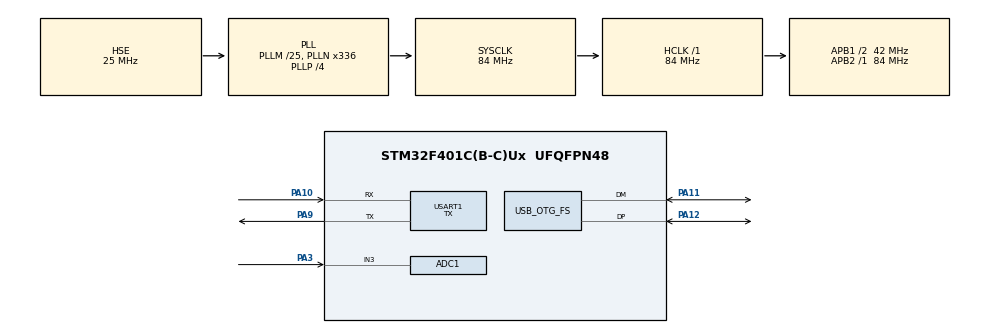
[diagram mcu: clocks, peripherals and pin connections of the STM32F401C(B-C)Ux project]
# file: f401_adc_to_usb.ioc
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ADC1.Channel-0\#ChannelRegularConversion=ADC_CHANNEL_3
ADC1.ContinuousConvMode=ENABLE
ADC1.InjNumberOfConversion=0
ADC1.NbrOfConversion=1
ADC1.NbrOfConversionFlag=1
ADC1.Rank-0\#ChannelRegularConversion=1
ADC1.SamplingTime-0\#ChannelRegularConversion=ADC_SAMPLETIME_3CYCLES
ADC1.master=1
Dma.ADC1.0.Direction=DMA_PERIPH_TO_MEMORY
Dma.ADC1.0.FIFOMode=DMA_FIFOMODE_DISABLE
Dma.ADC1.0.Instance=DMA2_Stream0
Dma.ADC1.0.MemDataAlignment=DMA_MDATAALIGN_HALFWORD
Dma.ADC1.0.MemInc=DMA_MINC_ENABLE
Dma.ADC1.0.Mode=DMA_NORMAL
Dma.ADC1.0.PeriphDataAlignment=DMA_PDATAALIGN_HALFWORD
Dma.ADC1.0.PeriphInc=DMA_PINC_DISABLE
Dma.ADC1.0.Priority=DMA_PRIORITY_LOW
Dma.Request0=ADC1
Mcu.Family=STM32F4
Mcu.Name=STM32F401C(B-C)Ux
Mcu.Package=UFQFPN48
NVIC.ADC_IRQn=true\:0\:0\:false\:false\:true\:true\:true\:true
NVIC.DMA2_Stream0_IRQn=true\:0\:0\:false\:false\:true\:false\:true\:true
NVIC.OTG_FS_IRQn=true\:0\:0\:false\:false\:true\:true\:true\:true
NVIC.PriorityGroup=NVIC_PRIORITYGROUP_4
NVIC.USART1_IRQn=true\:0\:0\:false\:false\:true\:true\:true\:true
PA10.Mode=Asynchronous
PA10.Signal=USART1_RX
PA11.Mode=Device_Only
PA11.Signal=USB_OTG_FS_DM
PA12.Mode=Device_Only
PA12.Signal=USB_OTG_FS_DP
PA13.Mode=Trace_Asynchronous_SW
PA13.Signal=SYS_JTMS-SWDIO
PA14.Mode=Trace_Asynchronous_SW
PA14.Signal=SYS_JTCK-SWCLK
PA3.Signal=ADCx_IN3
PA9.Mode=Asynchronous
PA9.Signal=USART1_TX
PB3.Mode=Trace_Asynchronous_SW
PB3.Signal=SYS_JTDO-SWO
PH0\ -\ OSC_IN.Mode=HSE-External-Oscillator
PH0\ -\ OSC_IN.Signal=RCC_OSC_IN
PH1\ -\ OSC_OUT.Mode=HSE-External-Oscillator
PH1\ -\ OSC_OUT.Signal=RCC_OSC_OUT
ProjectManager.HeapSize=0x200
ProjectManager.StackSize=0x400
ProjectManager.TargetToolchain=STM32CubeIDE
RCC.48MHZClocksFreq_Value=48000000
RCC.AHBFreq_Value=84000000
RCC.APB1CLKDivider=RCC_HCLK_DIV2
RCC.APB1Freq_Value=42000000
RCC.APB1TimFreq_Value=84000000
RCC.APB2Freq_Value=84000000
RCC.APB2TimFreq_Value=84000000
RCC.CortexFreq_Value=84000000
RCC.HCLKFreq_Value=84000000
RCC.HSE_VALUE=25000000
RCC.HSI_VALUE=16000000
RCC.LSE_VALUE=32768
RCC.PLLM=25
RCC.PLLN=336
RCC.PLLP=RCC_PLLP_DIV4
RCC.PLLQ=7
RCC.SYSCLKFreq_VALUE=84000000
RCC.SYSCLKSource=RCC_SYSCLKSOURCE_PLLCLK
RCC.VCOOutputFreq_Value=336000000
SH.ADCx_IN3.0=ADC1_IN3,IN3
USART1.Mode=MODE_TX
USART1.VirtualMode=VM_ASYNC
USB_DEVICE.CLASS_NAME_FS=CDC
USB_DEVICE.VirtualMode=Cdc
USB_DEVICE.VirtualModeFS=Cdc_FS
USB_OTG_FS.VirtualMode=Device_Only
VP_USB_DEVICE_VS_USB_DEVICE_CDC_FS.Mode=CDC_FS
board=custom

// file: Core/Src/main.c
/* USER CODE BEGIN Header */
/**
  ******************************************************************************
  * @file           : main.c
  * @brief          : Main program body
  ******************************************************************************
  * @attention
  *
  * Copyright (c) 2022 STMicroelectronics.
  * All rights reserved.
  *
  * This software is licensed under terms that can be found in the LICENSE file
  * in the root directory of this software component.
  * If no LICENSE file comes with this software, it is provided AS-IS.
  *
  ******************************************************************************
  */
/* USER CODE END Header */
#include "main.h"
#include "usb_device.h"

/* USER CODE BEGIN Includes */
#include "usbd_cdc_if.h"
#include <stdio.h>
#include <string.h>
/* USER CODE END Includes */

ADC_HandleTypeDef hadc1;
DMA_HandleTypeDef hdma_adc1;

UART_HandleTypeDef huart1;

void SystemClock_Config(void);
static void MX_GPIO_Init(void);
static void MX_DMA_Init(void);
static void MX_ADC1_Init(void);
static void MX_USART1_UART_Init(void);
/* USER CODE BEGIN PFP */
int __io_putchar(int ch)
{
 ITM_SendChar(ch);
 return(ch);
}
int _write(int file, char *ptr, int len)
 {
 int DataIdx;
 for (DataIdx = 0; DataIdx < len; DataIdx++)
 {
 __io_putchar(*ptr++);
 }
 return len;
 }
/* USER CODE END PFP */

int main(void)
{

  /* MCU Configuration--------------------------------------------------------*/

  /* Reset of all peripherals, Initializes the Flash interface and the Systick. */
  HAL_Init();

  /* Configure the system clock */
  SystemClock_Config();

  /* Initialize all configured peripherals */
  MX_GPIO_Init();
  MX_DMA_Init();
  MX_ADC1_Init();
  MX_USB_DEVICE_Init();
  MX_USART1_UART_Init();
  /* USER CODE BEGIN 2 */
  uint16_t adc_value[2560];
  /* USER CODE END 2 */

  /* Infinite loop */
  /* USER CODE BEGIN WHILE */
  HAL_ADC_Start_DMA(&hadc1,(uint32_t *) &adc_value, 256);

  while (1)
  {
	  char buff_usb[16];

	  HAL_ADC_Start_DMA(&hadc1,(uint32_t *) &adc_value,2560);
	  HAL_Delay(1000);
	  printf("\r\n***************\r\n");
	  for(uint16_t i = 0; i < 2560; i++){
		  printf("%4d\n", adc_value[i]);
		  sprintf(buff_usb, "%d\r\n", adc_value[i]);
		  CDC_Transmit_FS(buff_usb, strlen(buff_usb));
	  }
	  printf("\r\n***************\r\n");

    /* USER CODE END WHILE */

  }
}

void SystemClock_Config(void)
{
  RCC_OscInitTypeDef RCC_OscInitStruct = {0};
  RCC_ClkInitTypeDef RCC_ClkInitStruct = {0};

  /** Configure the main internal regulator output voltage
  */
  __HAL_RCC_PWR_CLK_ENABLE();
  __HAL_PWR_VOLTAGESCALING_CONFIG(PWR_REGULATOR_VOLTAGE_SCALE2);

  /** Initializes the RCC Oscillators according to the specified parameters
  * in the RCC_OscInitTypeDef structure.
  */
  RCC_OscInitStruct.OscillatorType = RCC_OSCILLATORTYPE_HSE;
  RCC_OscInitStruct.HSEState = RCC_HSE_ON;
  RCC_OscInitStruct.PLL.PLLState = RCC_PLL_ON;
  RCC_OscInitStruct.PLL.PLLSource = RCC_PLLSOURCE_HSE;
  RCC_OscInitStruct.PLL.PLLM = 25;
  RCC_OscInitStruct.PLL.PLLN = 336;
  RCC_OscInitStruct.PLL.PLLP = RCC_PLLP_DIV4;
  RCC_OscInitStruct.PLL.PLLQ = 7;
  if (HAL_RCC_OscConfig(&RCC_OscInitStruct) != HAL_OK)
  {
    Error_Handler();
  }

  /** Initializes the CPU, AHB and APB buses clocks
  */
  RCC_ClkInitStruct.ClockType = RCC_CLOCKTYPE_HCLK|RCC_CLOCKTYPE_SYSCLK
                              |RCC_CLOCKTYPE_PCLK1|RCC_CLOCKTYPE_PCLK2;
  RCC_ClkInitStruct.SYSCLKSource = RCC_SYSCLKSOURCE_PLLCLK;
  RCC_ClkInitStruct.AHBCLKDivider = RCC_SYSCLK_DIV1;
  RCC_ClkInitStruct.APB1CLKDivider = RCC_HCLK_DIV2;
  RCC_ClkInitStruct.APB2CLKDivider = RCC_HCLK_DIV1;

  if (HAL_RCC_ClockConfig(&RCC_ClkInitStruct, FLASH_LATENCY_2) != HAL_OK)
  {
    Error_Handler();
  }
}

static void MX_ADC1_Init(void)
{

  ADC_ChannelConfTypeDef sConfig = {0};

  /** Configure the global features of the ADC (Clock, Resolution, Data Alignment and number of conversion)
  */
  hadc1.Instance = ADC1;
  hadc1.Init.ClockPrescaler = ADC_CLOCK_SYNC_PCLK_DIV4;
  hadc1.Init.Resolution = ADC_RESOLUTION_12B;
  hadc1.Init.ScanConvMode = DISABLE;
  hadc1.Init.ContinuousConvMode = ENABLE;
  hadc1.Init.DiscontinuousConvMode = DISABLE;
  hadc1.Init.ExternalTrigConvEdge = ADC_EXTERNALTRIGCONVEDGE_NONE;
  hadc1.Init.ExternalTrigConv = ADC_SOFTWARE_START;
  hadc1.Init.DataAlign = ADC_DATAALIGN_RIGHT;
  hadc1.Init.NbrOfConversion = 1;
  hadc1.Init.DMAContinuousRequests = DISABLE;
  hadc1.Init.EOCSelection = ADC_EOC_SINGLE_CONV;
  if (HAL_ADC_Init(&hadc1) != HAL_OK)
  {
    Error_Handler();
  }

  /** Configure for the selected ADC regular channel its corresponding rank in the sequencer and its sample time.
  */
  sConfig.Channel = ADC_CHANNEL_3;
  sConfig.Rank = 1;
  sConfig.SamplingTime = ADC_SAMPLETIME_3CYCLES;
  if (HAL_ADC_ConfigChannel(&hadc1, &sConfig) != HAL_OK)
  {
    Error_Handler();
  }

}

static void MX_USART1_UART_Init(void)
{

  huart1.Instance = USART1;
  huart1.Init.BaudRate = 115200;
  huart1.Init.WordLength = UART_WORDLENGTH_8B;
  huart1.Init.StopBits = UART_STOPBITS_1;
  huart1.Init.Parity = UART_PARITY_NONE;
  huart1.Init.Mode = UART_MODE_TX;
  huart1.Init.HwFlowCtl = UART_HWCONTROL_NONE;
  huart1.Init.OverSampling = UART_OVERSAMPLING_16;
  if (HAL_UART_Init(&huart1) != HAL_OK)
  {
    Error_Handler();
  }

}

static void MX_DMA_Init(void)
{

  /* DMA controller clock enable */
  __HAL_RCC_DMA2_CLK_ENABLE();

  /* DMA interrupt init */
  /* DMA2_Stream0_IRQn interrupt configuration */
  HAL_NVIC_SetPriority(DMA2_Stream0_IRQn, 0, 0);
  HAL_NVIC_EnableIRQ(DMA2_Stream0_IRQn);

}

static void MX_GPIO_Init(void)
{

  /* GPIO Ports Clock Enable */
  __HAL_RCC_GPIOH_CLK_ENABLE();
  __HAL_RCC_GPIOA_CLK_ENABLE();
  __HAL_RCC_GPIOB_CLK_ENABLE();

}

void Error_Handler(void)
{
  __disable_irq();
  while (1)
  {
  }
}
